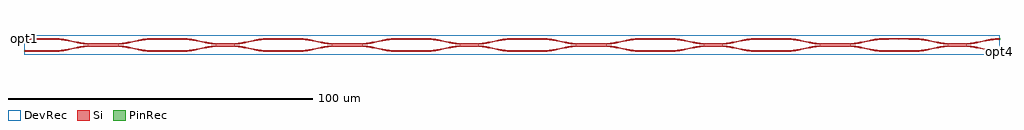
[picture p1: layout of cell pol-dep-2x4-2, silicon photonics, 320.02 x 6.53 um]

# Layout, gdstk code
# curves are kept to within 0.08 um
import gdstk
lib = gdstk.Library(unit=1e-6, precision=1e-09)
def R(c, l, rs):  # rectangles x0, y0, x1, y1
    for r in rs: c.add(gdstk.rectangle(r[:2], r[2:], *l))
def P(c, l, *ps):  # polygons
    for p in ps: c.add(gdstk.Polygon(p, *l))
Si = (1, 0)
PinRec = (1, 10)
DevRec = (68, 0)

dc_arm_up_8_6_2 = lib.new_cell('dc_arm_up_8$6$2')
R(dc_arm_up_8_6_2, Si, [(12,0.1,20,0.55)])
P(dc_arm_up_8_6_2, Si, [(20,0.1),(20,0.55),(21.481,0.613),(22.966,0.793),(29.344,2.033),(30.861,2.188),(32,2.225),(32,1.775),(30.519,1.712),(29.034,1.532),(22.656,0.292),(21.139,0.137)],
  [(12,0.1),(10.861,0.137),(9.344,0.292),(2.966,1.532),(1.481,1.712),(0,1.775),(0,2.225),(1.139,2.188),(2.656,2.033),(9.034,0.793),(10.519,0.613),(12,0.55)])

dc_arm_down_8_6_2 = lib.new_cell('dc_arm_down_8$6$2')
R(dc_arm_down_8_6_2, Si, [(12,-0.55,20,-0.1)])
P(dc_arm_down_8_6_2, Si, [(32,-2.225),(30.861,-2.188),(29.344,-2.033),(22.966,-0.793),(21.481,-0.613),(20,-0.55),(20,-0.1),(21.139,-0.137),(22.656,-0.292),(29.034,-1.532),(30.519,-1.712),(32,-1.775)],
  [(0,-2.225),(0,-1.775),(1.481,-1.712),(2.966,-1.532),(9.344,-0.292),(10.861,-0.137),(12,-0.1),(12,-0.55),(10.519,-0.613),(9.034,-0.793),(2.656,-2.033),(1.139,-2.188)])

dc_8_6_2 = lib.new_cell('dc_8$6$2')
dc_8_6_2.add(gdstk.Reference(dc_arm_up_8_6_2, (0,0)))
dc_8_6_2.add(gdstk.Reference(dc_arm_down_8_6_2, (0,0)))

layer_0_0_phase_sec_2_6_ = lib.new_cell('layer-0_0_phase_sec_2$6$2')
P(layer_0_0_phase_sec_2_6_, Si, [(3.241,-0.264),(0,-0.225),(0,0.225),(10,0.225),(10,-0.225)])

layer_0_0_phase_sec_3_6_ = lib.new_cell('layer-0_0_phase_sec_3$6$2')
P(layer_0_0_phase_sec_3_6_, Si, [(0,-0.225),(0,0.225),(10,0.225),(10,-0.225)])

dc_arm_up_4_6_2 = lib.new_cell('dc_arm_up_4$6$2')
R(dc_arm_up_4_6_2, Si, [(12,0.1,16,0.55)])
P(dc_arm_up_4_6_2, Si, [(16,0.1),(16,0.55),(17.481,0.613),(18.966,0.793),(25.344,2.033),(26.861,2.188),(28,2.225),(28,1.775),(26.519,1.712),(25.034,1.532),(18.656,0.292),(17.139,0.137)],
  [(12,0.1),(10.861,0.137),(9.344,0.292),(2.966,1.532),(1.481,1.712),(0,1.775),(0,2.225),(1.139,2.188),(2.656,2.033),(9.034,0.793),(10.519,0.613),(12,0.55)])

dc_arm_down_4_6_2 = lib.new_cell('dc_arm_down_4$6$2')
R(dc_arm_down_4_6_2, Si, [(12,-0.55,16,-0.1)])
P(dc_arm_down_4_6_2, Si, [(28,-2.225),(26.861,-2.188),(25.344,-2.033),(18.966,-0.793),(17.481,-0.613),(16,-0.55),(16,-0.1),(17.139,-0.137),(18.656,-0.292),(25.034,-1.532),(26.519,-1.712),(28,-1.775)],
  [(0,-2.225),(0,-1.775),(1.481,-1.712),(2.966,-1.532),(9.344,-0.292),(10.861,-0.137),(12,-0.1),(12,-0.55),(10.519,-0.613),(9.034,-0.793),(2.656,-2.033),(1.139,-2.188)])

dc_4_6_2 = lib.new_cell('dc_4$6$2')
dc_4_6_2.add(gdstk.Reference(dc_arm_up_4_6_2, (0,0)))
dc_4_6_2.add(gdstk.Reference(dc_arm_down_4_6_2, (0,0)))

layer_1_0_phase_sec_0_6_ = lib.new_cell('layer-1_0_phase_sec_0$6$2')
P(layer_1_0_phase_sec_0_6_, Si, [(3.227,-0.238),(0,-0.225),(0,0.225),(10,0.225),(10,-0.225)])

layer_1_0_phase_sec_1_6_ = lib.new_cell('layer-1_0_phase_sec_1$6$2')
P(layer_1_0_phase_sec_1_6_, Si, [(3.218,-0.226),(0,-0.225),(0,0.225),(10,0.225),(10,-0.225)])

layer_1_0_phase_sec_2_6_ = lib.new_cell('layer-1_0_phase_sec_2$6$2')
P(layer_1_0_phase_sec_2_6_, Si, [(0,-0.225),(0,0.225),(10,0.225),(10,-0.225)])

layer_1_0_phase_sec_3_6_ = lib.new_cell('layer-1_0_phase_sec_3$6$2')
P(layer_1_0_phase_sec_3_6_, Si, [(4.857,-0.266),(0,-0.225),(0,0.225),(10,0.225),(10,-0.225)])

layer_2_0_phase_sec_2_6_ = lib.new_cell('layer-2_0_phase_sec_2$6$2')
P(layer_2_0_phase_sec_2_6_, Si, [(0,-0.225),(0,0.225),(10,0.225),(10,-0.225)])

layer_0_0_phase_sec_1_6_ = lib.new_cell('layer-0_0_phase_sec_1$6$2')
P(layer_0_0_phase_sec_1_6_, Si, [(6.451,-0.232),(0,-0.225),(0,0.225),(10,0.225),(10,-0.225)])

layer_3_0_phase_sec_1_6_ = lib.new_cell('layer-3_0_phase_sec_1$6$2')
P(layer_3_0_phase_sec_1_6_, Si, [(0,-0.225),(0,0.225),(10,0.225),(10,-0.225)])

layer_2_0_phase_sec_0_6_ = lib.new_cell('layer-2_0_phase_sec_0$6$2')
P(layer_2_0_phase_sec_0_6_, Si, [(6.459,-0.241),(0,-0.225),(0,0.225),(10,0.225),(10,-0.225)])

layer_2_0_phase_sec_3_6_ = lib.new_cell('layer-2_0_phase_sec_3$6$2')
P(layer_2_0_phase_sec_3_6_, Si, [(6.48,-0.255),(0,-0.225),(0,0.225),(10,0.225),(10,-0.225)])

layer_3_0_phase_sec_2_6_ = lib.new_cell('layer-3_0_phase_sec_2$6$2')
P(layer_3_0_phase_sec_2_6_, Si, [(0,-0.225),(0,0.225),(10,0.225),(10,-0.225)])

layer_2_0_phase_sec_1_6_ = lib.new_cell('layer-2_0_phase_sec_1$6$2')
P(layer_2_0_phase_sec_1_6_, Si, [(0,-0.225),(0,0.225),(10,0.225),(10,-0.225)])

layer_0_0_phase_sec_0_6_ = lib.new_cell('layer-0_0_phase_sec_0$6$2')
P(layer_0_0_phase_sec_0_6_, Si, [(0,-0.225),(0,0.225),(10,0.225),(10,-0.225)])

layer_3_0_phase_sec_0_6_ = lib.new_cell('layer-3_0_phase_sec_0$6$2')
P(layer_3_0_phase_sec_0_6_, Si, [(1.617,-0.25),(0,-0.225),(0,0.225),(10,0.225),(10,-0.225)])

layer_3_0_phase_sec_3_6_ = lib.new_cell('layer-3_0_phase_sec_3$6$2')
P(layer_3_0_phase_sec_3_6_, Si, [(6.452,-0.243),(0,-0.225),(0,0.225),(10,0.225),(10,-0.225)])

pol_dep_2x4_2 = lib.new_cell('pol-dep-2x4-2')
R(pol_dep_2x4_2, DevRec, [(0,-1,320,5.53)])
pol_dep_2x4_2.add(gdstk.FlexPath([(319.99,0.266),(320.01,0.266)], 0.45, ends="flush", simple_path=True, layer=1, datatype=10))  # PinRec
pol_dep_2x4_2.add(gdstk.FlexPath([(319.99,4.266),(320.01,4.266)], 0.45, ends="flush", simple_path=True, layer=1, datatype=10))  # PinRec
pol_dep_2x4_2.add(gdstk.FlexPath([(0.01,0.266),(-0.01,0.266)], 0.45, ends="flush", simple_path=True, layer=1, datatype=10))  # PinRec
pol_dep_2x4_2.add(gdstk.FlexPath([(0.01,4.266),(-0.01,4.266)], 0.45, ends="flush", simple_path=True, layer=1, datatype=10))  # PinRec
pol_dep_2x4_2.add(gdstk.Reference(dc_8_6_2, (10,2.266)))
pol_dep_2x4_2.add(gdstk.Reference(dc_8_6_2, (90,2.266)))
pol_dep_2x4_2.add(gdstk.Reference(dc_8_6_2, (170,2.266)))
pol_dep_2x4_2.add(gdstk.Reference(dc_8_6_2, (250,2.266)))
pol_dep_2x4_2.add(gdstk.Reference(layer_0_0_phase_sec_2_6_, (42,4.266)))
pol_dep_2x4_2.add(gdstk.Reference(layer_0_0_phase_sec_3_6_, (42,0.266)))
pol_dep_2x4_2.add(gdstk.Reference(dc_4_6_2, (52,2.266)))
pol_dep_2x4_2.add(gdstk.Reference(dc_4_6_2, (132,2.266)))
pol_dep_2x4_2.add(gdstk.Reference(dc_4_6_2, (212,2.266)))
pol_dep_2x4_2.add(gdstk.Reference(dc_4_6_2, (292,2.266)))
pol_dep_2x4_2.add(gdstk.Reference(layer_1_0_phase_sec_0_6_, (80,4.266)))
pol_dep_2x4_2.add(gdstk.Reference(layer_1_0_phase_sec_1_6_, (80,0.266)))
pol_dep_2x4_2.add(gdstk.Reference(layer_1_0_phase_sec_2_6_, (122,4.266)))
pol_dep_2x4_2.add(gdstk.Reference(layer_1_0_phase_sec_3_6_, (122,0.266)))
pol_dep_2x4_2.add(gdstk.Reference(layer_2_0_phase_sec_2_6_, (202,4.266)))
pol_dep_2x4_2.add(gdstk.Reference(layer_0_0_phase_sec_1_6_, (0,0.266)))
pol_dep_2x4_2.add(gdstk.Reference(layer_3_0_phase_sec_1_6_, (240,0.266)))
pol_dep_2x4_2.add(gdstk.Reference(layer_2_0_phase_sec_0_6_, (160,4.266)))
pol_dep_2x4_2.add(gdstk.Reference(layer_2_0_phase_sec_3_6_, (202,0.266)))
pol_dep_2x4_2.add(gdstk.Reference(layer_3_0_phase_sec_2_6_, (282,4.266)))
pol_dep_2x4_2.add(gdstk.Reference(layer_2_0_phase_sec_1_6_, (160,0.266)))
pol_dep_2x4_2.add(gdstk.Reference(layer_0_0_phase_sec_0_6_, (0,4.266)))
pol_dep_2x4_2.add(gdstk.Reference(layer_3_0_phase_sec_0_6_, (240,4.266)))
pol_dep_2x4_2.add(gdstk.Reference(layer_3_0_phase_sec_3_6_, (282,0.266)))
pol_dep_2x4_2.add(gdstk.Label('opt4', (320,0.266), layer=1, texttype=10))
pol_dep_2x4_2.add(gdstk.Label('opt3', (320,4.266), layer=1, texttype=10))
pol_dep_2x4_2.add(gdstk.Label('opt1', (0,4.266), layer=1, texttype=10))
pol_dep_2x4_2.add(gdstk.Label('opt2', (0,0.266), layer=1, texttype=10))

lib.write_gds('pol-dep-2x4-2.gds')
